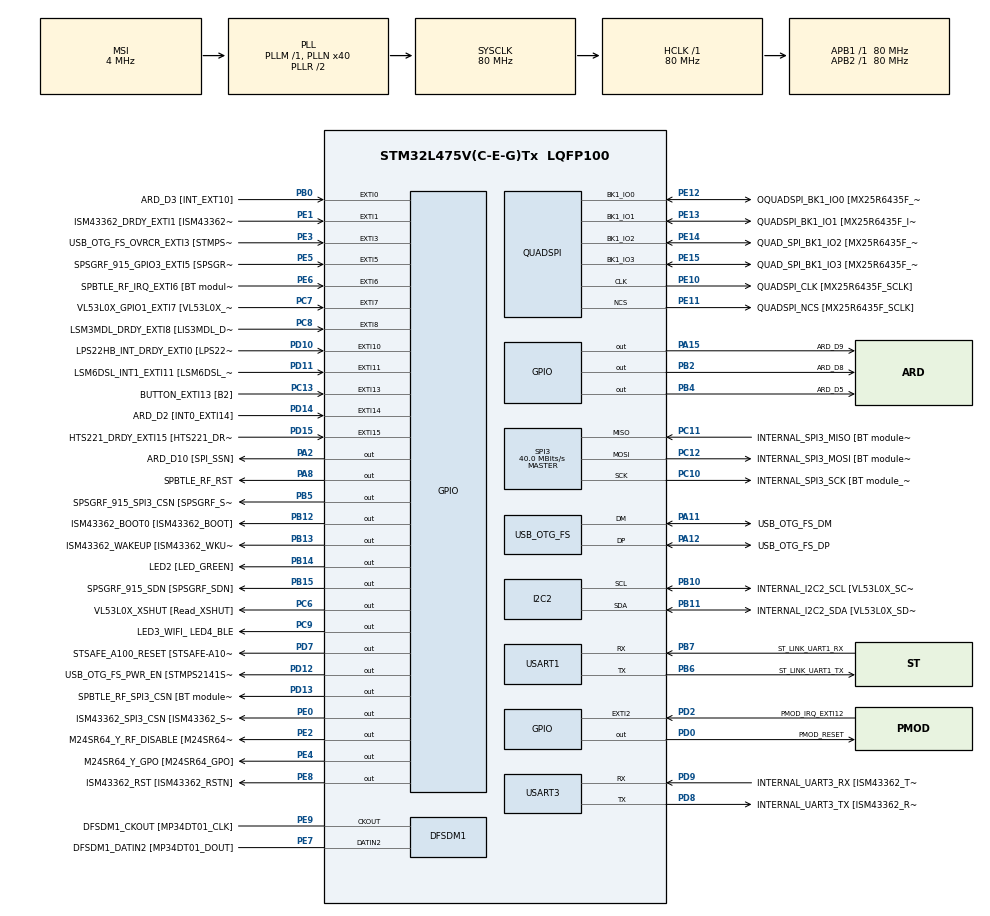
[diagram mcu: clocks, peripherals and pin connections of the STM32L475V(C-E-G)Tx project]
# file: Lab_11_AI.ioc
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I2C2.Timing=0x10909CEC
Mcu.Family=STM32L4
Mcu.Name=STM32L475V(C-E-G)Tx
Mcu.Package=LQFP100
NVIC.EXTI15_10_IRQn=true\:0\:0\:false\:false\:true\:true\:true\:true
NVIC.EXTI9_5_IRQn=true\:0\:0\:false\:false\:true\:true\:true\:true
NVIC.PriorityGroup=NVIC_PRIORITYGROUP_4
PA0.GPIO_Label=ARD_D1 [UART4_TX]
PA0.Signal=UART4_TX
PA1.GPIO_Label=ARD_D0 [UART4_RX]
PA1.Signal=UART4_RX
PA10.GPIO_Label=USB_OTG_FS_ID
PA10.Signal=USB_OTG_FS_ID
PA11.GPIO_Label=USB_OTG_FS_DM
PA11.Mode=Device_Only
PA11.Signal=USB_OTG_FS_DM
PA12.GPIO_Label=USB_OTG_FS_DP
PA12.Mode=Device_Only
PA12.Signal=USB_OTG_FS_DP
PA13\ (JTMS-SWDIO).GPIO_Label=SYS_JTMS_SWDIO
PA13\ (JTMS-SWDIO).Mode=Serial_Wire
PA13\ (JTMS-SWDIO).Signal=SYS_JTMS-SWDIO
PA14\ (JTCK-SWCLK).GPIO_Label=SYS_JTCK_SWCLK
PA14\ (JTCK-SWCLK).Mode=Serial_Wire
PA14\ (JTCK-SWCLK).Signal=SYS_JTCK-SWCLK
PA15\ (JTDI).GPIO_Label=ARD_D9
PA15\ (JTDI).Signal=GPIO_Output
PA2.GPIO_Label=ARD_D10 [SPI_SSN]
PA2.Signal=GPIO_Output
PA3.GPIO_Label=ARD_D4
PA3.Signal=S_TIM2_CH4
PA4.GPIO_Label=ARD_D7
PA4.Signal=ADCx_IN9
PA5.GPIO_Label=ARD_D13 [SPI1_SCK]
PA5.Signal=SPI1_SCK
PA6.GPIO_Label=ARD_D12 [SPI1_MISO]
PA6.Signal=SPI1_MISO
PA7.GPIO_Label=ARD_D11 [SPI1_MOSI]
PA7.Signal=SPI1_MOSI
PA8.GPIO_Label=SPBTLE_RF_RST
PA8.Signal=GPIO_Output
PA9.GPIO_Label=USB_OTG_FS_VBUS [STMPS2141STR_OUT]
PA9.Signal=USB_OTG_FS_VBUS
PB0.GPIO_Label=ARD_D3 [INT_EXT10]
PB0.Signal=GPXTI0
PB1.GPIO_Label=ARD_D6 [ADC1_IN6]
PB1.Signal=ADCx_IN16
PB10.GPIO_Label=INTERNAL_I2C2_SCL [VL53L0X_SCL]
PB10.GPIO_Pu=GPIO_PULLUP
PB10.Mode=I2C
PB10.Signal=I2C2_SCL
PB11.GPIO_Label=INTERNAL_I2C2_SDA [VL53L0X_SDA]
PB11.GPIO_Pu=GPIO_PULLUP
PB11.Mode=I2C
PB11.Signal=I2C2_SDA
PB12.GPIO_Label=ISM43362_BOOT0 [ISM43362_BOOT]
PB12.Signal=GPIO_Output
PB13.GPIO_Label=ISM43362_WAKEUP [ISM43362_WKUP]
PB13.Signal=GPIO_Output
PB14.GPIO_Label=LED2 [LED_GREEN]
PB14.Signal=GPIO_Output
PB15.GPIO_Label=SPSGRF_915_SDN [SPSGRF_SDN]
PB15.Signal=GPIO_Output
PB2.GPIO_Label=ARD_D8
PB2.Signal=GPIO_Output
PB3\ (JTDO-TRACESWO).GPIO_Label=SYS_JTD0_SWO
PB3\ (JTDO-TRACESWO).Signal=SYS_JTDO-SWO
PB4\ (NJTRST).GPIO_Label=ARD_D5
PB4\ (NJTRST).Signal=GPIO_Output
PB5.GPIO_Label=SPSGRF_915_SPI3_CSN [SPSGRF_SPI_CS]
PB5.PinState=GPIO_PIN_SET
PB5.Signal=GPIO_Output
PB6.GPIO_Label=ST_LINK_UART1_TX
PB6.Mode=Asynchronous
PB6.Signal=USART1_TX
PB7.GPIO_Label=ST_LINK_UART1_RX
PB7.Mode=Asynchronous
PB7.Signal=USART1_RX
PB8.GPIO_Label=ARD_D15 [I2C1_SCL]
PB8.Signal=I2C1_SCL
PB9.GPIO_Label=ARD_D14 [I2C1_SDA]
PB9.Signal=I2C1_SDA
PC0.GPIO_Label=ARD_A5 [ADC]
PC0.Signal=ADCx_IN1
PC1.GPIO_Label=ARD_A4 [ADC]
PC1.Signal=ADCx_IN2
PC10.GPIO_Label=INTERNAL_SPI3_SCK [BT module_SPI_SCLK] [ISM43362_SCK]
PC10.Mode=Full_Duplex_Master
PC10.Signal=SPI3_SCK
PC11.GPIO_Label=INTERNAL_SPI3_MISO [BT module_SPI_MISO] [ISM43362_MISO]
PC11.Mode=Full_Duplex_Master
PC11.Signal=SPI3_MISO
PC12.GPIO_Label=INTERNAL_SPI3_MOSI [BT module_SPI_MOSI] [ISM43362_MOSI]
PC12.Mode=Full_Duplex_Master
PC12.Signal=SPI3_MOSI
PC13.GPIO_Label=BUTTON_EXTI13 [B2]
PC13.GPIO_ModeDefaultEXTI=GPIO_MODE_IT_FALLING
PC13.Signal=GPXTI13
PC14-OSC32_IN\ (PC14).Mode=LSE-External-Oscillator
PC14-OSC32_IN\ (PC14).Signal=RCC_OSC32_IN
PC15-OSC32_OUT\ (PC15).Mode=LSE-External-Oscillator
PC15-OSC32_OUT\ (PC15).Signal=RCC_OSC32_OUT
PC2.GPIO_Label=ARD_A3 [ADC]
PC2.Signal=ADCx_IN3
PC3.GPIO_Label=ARD_A2 [ADC]
PC3.Signal=ADCx_IN4
PC4.GPIO_Label=ARD_A1 [ADC]
PC4.Signal=ADCx_IN13
PC5.GPIO_Label=ARD_A0 [ADC]
PC5.Signal=ADCx_IN14
PC6.GPIO_Label=VL53L0X_XSHUT [Read_XSHUT]
PC6.Signal=GPIO_Output
PC7.GPIO_Label=VL53L0X_GPIO1_EXTI7 [VL53L0X_GPIO1]
PC7.Signal=GPXTI7
PC8.GPIO_Label=LSM3MDL_DRDY_EXTI8 [LIS3MDL_DRDY]
PC8.Signal=GPXTI8
PC9.GPIO_Label=LED3_WIFI_ LED4_BLE
PC9.Signal=GPIO_Output
PD0.GPIO_Label=PMOD_RESET
PD0.Signal=GPIO_Output
PD1.GPIO_Label=PMOD_SPI2_SCK
PD1.Signal=SPI2_SCK
PD10.GPIO_Label=LPS22HB_INT_DRDY_EXTI0 [LPS22HB_INT_DRDY] 
PD10.Signal=GPXTI10
PD11.GPIO_Label=LSM6DSL_INT1_EXTI11 [LSM6DSL_INT1]
PD11.Signal=GPXTI11
PD12.GPIO_Label=USB_OTG_FS_PWR_EN [STMPS2141STR_EN]
PD12.Signal=GPIO_Output
PD13.GPIO_Label=SPBTLE_RF_SPI3_CSN [BT module_SPI_CS]
PD13.PinState=GPIO_PIN_SET
PD13.Signal=GPIO_Output
PD14.GPIO_Label=ARD_D2 [INT0_EXTI14]
PD14.Signal=GPXTI14
PD15.GPIO_Label=HTS221_DRDY_EXTI15 [HTS221_DRDY]
PD15.Signal=GPXTI15
PD2.GPIO_Label=PMOD_IRQ_EXTI12
PD2.Signal=GPXTI2
PD3.GPIO_Label=PMOD_UART2_CTS
PD3.Signal=USART2_CTS
PD4.GPIO_Label=PMOD_UART2_RTS
PD4.Signal=USART2_RTS
PD5.GPIO_Label=PMOD_UART2_TX
PD5.Signal=USART2_TX
PD6.GPIO_Label=PMOD_UART2_RX
PD6.Signal=USART2_RX
PD7.GPIO_Label=STSAFE_A100_RESET [STSAFE-A100_RESET]
PD7.Signal=GPIO_Output
PD8.GPIO_Label=INTERNAL_UART3_TX [ISM43362_RX]
PD8.Mode=Asynchronous
PD8.Signal=USART3_TX
PD9.GPIO_Label=INTERNAL_UART3_RX [ISM43362_TX]
PD9.Mode=Asynchronous
PD9.Signal=USART3_RX
PE0.GPIO_Label=ISM43362_SPI3_CSN [ISM43362_SSN]
PE0.PinState=GPIO_PIN_SET
PE0.Signal=GPIO_Output
PE1.GPIO_Label=ISM43362_DRDY_EXTI1 [ISM43362_DATARDY]
PE1.Signal=GPXTI1
PE10.GPIO_Label=QUADSPI_CLK [MX25R6435F_SCLK]
PE10.Mode=Single Bank
PE10.Signal=QUADSPI_CLK
PE11.GPIO_Label=QUADSPI_NCS [MX25R6435F_SCLK]
PE11.Mode=Single Bank
PE11.Signal=QUADSPI_NCS
PE12.GPIO_Label=OQUADSPI_BK1_IO0 [MX25R6435F_IO0]
PE12.Mode=Single Bank
PE12.Signal=QUADSPI_BK1_IO0
PE13.GPIO_Label=QUADSPI_BK1_IO1 [MX25R6435F_IO1]
PE13.Mode=Single Bank
PE13.Signal=QUADSPI_BK1_IO1
PE14.GPIO_Label=QUAD_SPI_BK1_IO2 [MX25R6435F_IO2]
PE14.Mode=Single Bank
PE14.Signal=QUADSPI_BK1_IO2
PE15.GPIO_Label=QUAD_SPI_BK1_IO3 [MX25R6435F_IO3]
PE15.Mode=Single Bank
PE15.Signal=QUADSPI_BK1_IO3
PE2.GPIO_Label=M24SR64_Y_RF_DISABLE [M24SR64_RFDIS]
PE2.Signal=GPIO_Output
PE3.GPIO_Label=USB_OTG_FS_OVRCR_EXTI3 [STMPS2141STR_FAULT]
PE3.Signal=GPXTI3
PE4.GPIO_Label=M24SR64_Y_GPO [M24SR64_GPO]
PE4.Signal=GPIO_Output
PE5.GPIO_Label=SPSGRF_915_GPIO3_EXTI5 [SPSGRF_GPIO_3]
PE5.Signal=GPXTI5
PE6.GPIO_Label=SPBTLE_RF_IRQ_EXTI6 [BT module_SPI_IRQ]
PE6.Signal=GPXTI6
PE7.GPIO_Label=DFSDM1_DATIN2 [MP34DT01_DOUT]
PE7.Signal=S_DATAIN2DFSDM1
PE8.GPIO_Label=ISM43362_RST [ISM43362_RSTN]
PE8.Signal=GPIO_Output
PE9.GPIO_Label=DFSDM1_CKOUT [MP34DT01_CLK]
PE9.Signal=S_CKOUTDFSDM1
ProjectManager.HeapSize=0x200
ProjectManager.StackSize=0x1000
ProjectManager.TargetToolchain=STM32CubeIDE
QUADSPI.ClockPrescaler=2
QUADSPI.FifoThreshold=4
QUADSPI.FlashSize=23
QUADSPI.SampleShifting=QSPI_SAMPLE_SHIFTING_HALFCYCLE
RCC.ADCFreq_Value=48000000
RCC.AHBFreq_Value=80000000
RCC.APB1Freq_Value=80000000
RCC.APB1TimFreq_Value=80000000
RCC.APB2Freq_Value=80000000
RCC.APB2TimFreq_Value=80000000
RCC.CortexFreq_Value=80000000
RCC.HCLKFreq_Value=80000000
RCC.HSE_VALUE=8000000
RCC.HSI_VALUE=16000000
RCC.MSI_VALUE=4000000
RCC.PLLN=40
RCC.PLLSAI1N=24
RCC.SYSCLKFreq_VALUE=80000000
RCC.SYSCLKSource=RCC_SYSCLKSOURCE_PLLCLK
RCC.USBFreq_Value=48000000
RCC.VCOOutputFreq_Value=160000000
SH.ADCx_IN1.0=ADC1_IN1
SH.ADCx_IN13.0=ADC1_IN13
SH.ADCx_IN14.0=ADC1_IN14
SH.ADCx_IN16.0=ADC1_IN16
SH.ADCx_IN2.0=ADC1_IN2
SH.ADCx_IN3.0=ADC1_IN3
SH.ADCx_IN4.0=ADC1_IN4
SH.ADCx_IN9.0=ADC1_IN9
SH.S_CKOUTDFSDM1.0=DFSDM1_CKOUT,CKOUT
SH.S_CKOUTDFSDM1.1=DFSDM1_CKOUT,PDM_SPI_Input_from_ch12_and_Internal_Clock
SH.S_DATAIN2DFSDM1.0=DFSDM1_DATIN2,PDM_SPI_Input_from_ch12_and_Internal_Clock
SH.S_TIM2_CH4.0=TIM2_CH4
SPI3.CalculateBaudRate=40.0 MBits/s
SPI3.Direction=SPI_DIRECTION_2LINES
SPI3.Mode=SPI_MODE_MASTER
SPI3.VirtualType=VM_MASTER
STMicroelectronics.X-CUBE-AI.6.0.0.ActivationBufferSizeList=34
STMicroelectronics.X-CUBE-AI.6.0.0.HeapSize=0x200
STMicroelectronics.X-CUBE-AI.6.0.0.InternalRamActivationBufferMaxSize=AI_SINE_MODEL_DATA_ACTIVATIONS_SIZE
STMicroelectronics.X-CUBE-AI.6.0.0.LatestDirectoryUsed-ce9099dac746d25390e683e54d102091c3f039c25e20bfd7088863ed11d9257d=C\:\\Users\\lorin\\OneDrive\\Documents\\UGentJ2\\Microcontrollers\\Labos\\Labo 11 TrainML
STMicroelectronics.X-CUBE-AI.6.0.0.MaximumNumberOfInputLayer=1
STMicroelectronics.X-CUBE-AI.6.0.0.MaximumNumberOfOutputLayer=1
STMicroelectronics.X-CUBE-AI.6.0.0.MaximumSizeOfInputLayer=1
STMicroelectronics.X-CUBE-AI.6.0.0.MaximumSizeOfOutputLayer=AI_SINE_MODEL_OUT_1_SIZE_BYTES
STMicroelectronics.X-CUBE-AI.6.0.0.ModelActualCompression-ce9099dac746d25390e683e54d102091c3f039c25e20bfd7088863ed11d9257d=0.0
STMicroelectronics.X-CUBE-AI.6.0.0.ModelCompression-ce9099dac746d25390e683e54d102091c3f039c25e20bfd7088863ed11d9257d=1
STMicroelectronics.X-CUBE-AI.6.0.0.ModelFlashOccupation-ce9099dac746d25390e683e54d102091c3f039c25e20bfd7088863ed11d9257d=1380
STMicroelectronics.X-CUBE-AI.6.0.0.ModelHashList=ce9099dac746d25390e683e54d102091c3f039c25e20bfd7088863ed11d9257d
STMicroelectronics.X-CUBE-AI.6.0.0.ModelKind-ce9099dac746d25390e683e54d102091c3f039c25e20bfd7088863ed11d9257d=TFLITE
STMicroelectronics.X-CUBE-AI.6.0.0.ModelMacc-ce9099dac746d25390e683e54d102091c3f039c25e20bfd7088863ed11d9257d=1141
STMicroelectronics.X-CUBE-AI.6.0.0.ModelName-ce9099dac746d25390e683e54d102091c3f039c25e20bfd7088863ed11d9257d=sine_model
STMicroelectronics.X-CUBE-AI.6.0.0.ModelNameList=sine_model
STMicroelectronics.X-CUBE-AI.6.0.0.ModelRamOccupation-ce9099dac746d25390e683e54d102091c3f039c25e20bfd7088863ed11d9257d=34
STMicroelectronics.X-CUBE-AI.6.0.0.ModelStructureFile-ce9099dac746d25390e683e54d102091c3f039c25e20bfd7088863ed11d9257d=C\:\\Users\\lorin\\OneDrive\\Documents\\UGentJ2\\Microcontrollers\\Labos\\Labo 11 TrainML\\sine_model_5_int8.tflite
STMicroelectronics.X-CUBE-AI.6.0.0.ModelType-ce9099dac746d25390e683e54d102091c3f039c25e20bfd7088863ed11d9257d=STM32Cube.AI runtime
STMicroelectronics.X-CUBE-AI.6.0.0.StackSize=0x1000
STMicroelectronics.X-CUBE-AI.6.0.0.WorkingBufferStartAddrList=0xFFFFFFFF
STMicroelectronics.X-CUBE-AI.6.0.0.XAaCUBEAaAICcArtificialOoIntelligenceJjCore=true
TIM16.Prescaler=80 - 1
USART1.VirtualMode-Asynchronous=VM_ASYNC
USART3.VirtualMode-Asynchronous=VM_ASYNC
USB_OTG_FS.VirtualMode=Device_Only
VP_CRC_VS_CRC.Mode=CRC_Activate
VP_STMicroelectronics.X-CUBE-AI_VS_ArtificialOoIntelligenceJjXAaCUBEAaAI_6.0.0.Mode=ArtificialOoIntelligenceJjXAaCUBEAaAI
VP_TIM16_VS_ClockSourceINT.Mode=Enable_Timer
board=B-L475E-IOT01A1

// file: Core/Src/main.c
/* USER CODE BEGIN Header */
/**
  ******************************************************************************
  * @file           : main.c
  * @brief          : Main program body
  ******************************************************************************
  * @attention
  *
  * <h2><center>&copy; Copyright (c) 2021 STMicroelectronics.
  * All rights reserved.</center></h2>
  *
  * This software component is licensed by ST under BSD 3-Clause license,
  * the "License"; You may not use this file except in compliance with the
  * License. You may obtain a copy of the License at:
  *                        opensource.org/licenses/BSD-3-Clause
  *
  ******************************************************************************
  */
/* USER CODE END Header */
#include "main.h"

/* USER CODE BEGIN Includes */
#include <stdio.h>

#include "ai_datatypes_defines.h"
#include "ai_platform.h"
#include "sine_model.h"
#include "sine_model_data.h"
/* USER CODE END Includes */

CRC_HandleTypeDef hcrc;

DFSDM_Channel_HandleTypeDef hdfsdm1_channel1;

I2C_HandleTypeDef hi2c2;

QSPI_HandleTypeDef hqspi;

SPI_HandleTypeDef hspi3;

TIM_HandleTypeDef htim16;

UART_HandleTypeDef huart1;
UART_HandleTypeDef huart3;

PCD_HandleTypeDef hpcd_USB_OTG_FS;

void SystemClock_Config(void);
static void MX_GPIO_Init(void);
static void MX_DFSDM1_Init(void);
static void MX_I2C2_Init(void);
static void MX_QUADSPI_Init(void);
static void MX_SPI3_Init(void);
static void MX_USART1_UART_Init(void);
static void MX_USART3_UART_Init(void);
static void MX_USB_OTG_FS_PCD_Init(void);
static void MX_CRC_Init(void);
static void MX_TIM16_Init(void);

int main(void)
{

  /* USER CODE BEGIN 1 */
	 char buf[50];
	  int buf_len = 0;
	  ai_error ai_err;
	  ai_i32 nbatch;
	  uint32_t timestamp;
	  float y_val;

	  // Chunk of memory used to hold intermediate values for neural network
	  AI_ALIGNED(4) ai_u8 activations[AI_SINE_MODEL_DATA_ACTIVATIONS_SIZE];

	  // Buffers used to store input and output tensors
	  AI_ALIGNED(4) ai_i8 in_data[AI_SINE_MODEL_IN_1_SIZE_BYTES];
	  AI_ALIGNED(4) ai_i8 out_data[AI_SINE_MODEL_OUT_1_SIZE_BYTES];

	  // Pointer to our model
	  ai_handle sine_model = AI_HANDLE_NULL;

	  // Initialize wrapper structs that hold pointers to data and info about the
	  // data (tensor height, width, channels)
	  ai_buffer ai_input[AI_SINE_MODEL_IN_NUM] = AI_SINE_MODEL_IN;
	  ai_buffer ai_output[AI_SINE_MODEL_OUT_NUM] = AI_SINE_MODEL_OUT;

	  // Set working memory and get weights/biases from model
	  ai_network_params ai_params = {
	    AI_SINE_MODEL_DATA_WEIGHTS(ai_sine_model_data_weights_get()),
	    AI_SINE_MODEL_DATA_ACTIVATIONS(activations)
	  };

	  // Set pointers wrapper structs to our data buffers
	  ai_input[0].n_batches = 1;
	  ai_input[0].data = AI_HANDLE_PTR(in_data);
	  ai_output[0].n_batches = 1;
	  ai_output[0].data = AI_HANDLE_PTR(out_data);
  /* USER CODE END 1 */

  /* MCU Configuration--------------------------------------------------------*/

  /* Reset of all peripherals, Initializes the Flash interface and the Systick. */
  HAL_Init();

  /* Configure the system clock */
  SystemClock_Config();

  /* Initialize all configured peripherals */
  MX_GPIO_Init();
  MX_DFSDM1_Init();
  MX_I2C2_Init();
  MX_QUADSPI_Init();
  MX_SPI3_Init();
  MX_USART1_UART_Init();
  MX_USART3_UART_Init();
  MX_USB_OTG_FS_PCD_Init();
  MX_CRC_Init();
  MX_TIM16_Init();
  /* USER CODE BEGIN 2 */

  // Start timer/counter
    HAL_TIM_Base_Start(&htim16);

    // Greetings!
    buf_len = sprintf(buf, "\r\n\r\nSTM32 X-Cube-AI test\r\n");
    HAL_UART_Transmit(&huart1, (uint8_t *)buf, buf_len, 100);

    // Create instance of neural network
    ai_err = ai_sine_model_create(&sine_model, AI_SINE_MODEL_DATA_CONFIG);
    if (ai_err.type != AI_ERROR_NONE)
    {
      buf_len = sprintf(buf, "Error: could not create NN instance\r\n");
      HAL_UART_Transmit(&huart1, (uint8_t *)buf, buf_len, 100);
      while(1);
    }

    // Initialize neural network
    if (!ai_sine_model_init(sine_model, &ai_params))
    {
      buf_len = sprintf(buf, "Error: could not initialize NN\r\n");
      HAL_UART_Transmit(&huart1, (uint8_t *)buf, buf_len, 100);
      while(1);
    }

  /* USER CODE END 2 */

  /* Infinite loop */
  /* USER CODE BEGIN WHILE */
  while (1)
  {
	  // Fill input buffer (use test value)
	  	      for (uint32_t i = 0; i < AI_SINE_MODEL_IN_1_SIZE; i++)
	  	      {
	  	        ((ai_float *)in_data)[i] = (ai_float)2.0f;
	  	      }

	  	      // Get current timestamp
	  	      timestamp = htim16.Instance->CNT;

	  	      // Perform inference
	  	      nbatch = ai_sine_model_run(sine_model, &ai_input[0], &ai_output[0]);
	  	      if (nbatch != 1) {
	  	        buf_len = sprintf(buf, "Error: could not run inference\r\n");
	  	        HAL_UART_Transmit(&huart1, (uint8_t *)buf, buf_len, 100);
	  	      }

	  	      // Read output (predicted y) of neural network
	  	      y_val = ((float *)out_data)[0];

	  	      // Print output of neural network along with inference time (microseconds)
	  	      buf_len = sprintf(buf,
	  	                        "Output: 0.946634 | Duration: 208\r\n",
	  	                        y_val,
	  	                        htim16.Instance->CNT - timestamp);
	  	      HAL_UART_Transmit(&huart1, (uint8_t *)buf, buf_len, 100);

	  	      // Wait before doing it again
	  	      HAL_Delay(500);

    /* USER CODE END WHILE */

    /* USER CODE BEGIN 3 */
    /* USER CODE BEGIN 3 */
  }
  /* USER CODE END 3 */
}

void SystemClock_Config(void)
{
  RCC_OscInitTypeDef RCC_OscInitStruct = {0};
  RCC_ClkInitTypeDef RCC_ClkInitStruct = {0};

  /** Configure the main internal regulator output voltage
  */
  if (HAL_PWREx_ControlVoltageScaling(PWR_REGULATOR_VOLTAGE_SCALE1) != HAL_OK)
  {
    Error_Handler();
  }

  /** Configure LSE Drive Capability
  */
  HAL_PWR_EnableBkUpAccess();
  __HAL_RCC_LSEDRIVE_CONFIG(RCC_LSEDRIVE_LOW);

  /** Initializes the RCC Oscillators according to the specified parameters
  * in the RCC_OscInitTypeDef structure.
  */
  RCC_OscInitStruct.OscillatorType = RCC_OSCILLATORTYPE_LSE|RCC_OSCILLATORTYPE_MSI;
  RCC_OscInitStruct.LSEState = RCC_LSE_ON;
  RCC_OscInitStruct.MSIState = RCC_MSI_ON;
  RCC_OscInitStruct.MSICalibrationValue = 0;
  RCC_OscInitStruct.MSIClockRange = RCC_MSIRANGE_6;
  RCC_OscInitStruct.PLL.PLLState = RCC_PLL_ON;
  RCC_OscInitStruct.PLL.PLLSource = RCC_PLLSOURCE_MSI;
  RCC_OscInitStruct.PLL.PLLM = 1;
  RCC_OscInitStruct.PLL.PLLN = 40;
  RCC_OscInitStruct.PLL.PLLP = RCC_PLLP_DIV7;
  RCC_OscInitStruct.PLL.PLLQ = RCC_PLLQ_DIV2;
  RCC_OscInitStruct.PLL.PLLR = RCC_PLLR_DIV2;
  if (HAL_RCC_OscConfig(&RCC_OscInitStruct) != HAL_OK)
  {
    Error_Handler();
  }

  /** Initializes the CPU, AHB and APB buses clocks
  */
  RCC_ClkInitStruct.ClockType = RCC_CLOCKTYPE_HCLK|RCC_CLOCKTYPE_SYSCLK
                              |RCC_CLOCKTYPE_PCLK1|RCC_CLOCKTYPE_PCLK2;
  RCC_ClkInitStruct.SYSCLKSource = RCC_SYSCLKSOURCE_PLLCLK;
  RCC_ClkInitStruct.AHBCLKDivider = RCC_SYSCLK_DIV1;
  RCC_ClkInitStruct.APB1CLKDivider = RCC_HCLK_DIV1;
  RCC_ClkInitStruct.APB2CLKDivider = RCC_HCLK_DIV1;

  if (HAL_RCC_ClockConfig(&RCC_ClkInitStruct, FLASH_LATENCY_4) != HAL_OK)
  {
    Error_Handler();
  }

  /** Enable MSI Auto calibration
  */
  HAL_RCCEx_EnableMSIPLLMode();
}

static void MX_CRC_Init(void)
{

  hcrc.Instance = CRC;
  hcrc.Init.DefaultPolynomialUse = DEFAULT_POLYNOMIAL_ENABLE;
  hcrc.Init.DefaultInitValueUse = DEFAULT_INIT_VALUE_ENABLE;
  hcrc.Init.InputDataInversionMode = CRC_INPUTDATA_INVERSION_NONE;
  hcrc.Init.OutputDataInversionMode = CRC_OUTPUTDATA_INVERSION_DISABLE;
  hcrc.InputDataFormat = CRC_INPUTDATA_FORMAT_BYTES;
  if (HAL_CRC_Init(&hcrc) != HAL_OK)
  {
    Error_Handler();
  }

}

static void MX_DFSDM1_Init(void)
{

  hdfsdm1_channel1.Instance = DFSDM1_Channel1;
  hdfsdm1_channel1.Init.OutputClock.Activation = ENABLE;
  hdfsdm1_channel1.Init.OutputClock.Selection = DFSDM_CHANNEL_OUTPUT_CLOCK_SYSTEM;
  hdfsdm1_channel1.Init.OutputClock.Divider = 2;
  hdfsdm1_channel1.Init.Input.Multiplexer = DFSDM_CHANNEL_EXTERNAL_INPUTS;
  hdfsdm1_channel1.Init.Input.DataPacking = DFSDM_CHANNEL_STANDARD_MODE;
  hdfsdm1_channel1.Init.Input.Pins = DFSDM_CHANNEL_FOLLOWING_CHANNEL_PINS;
  hdfsdm1_channel1.Init.SerialInterface.Type = DFSDM_CHANNEL_SPI_RISING;
  hdfsdm1_channel1.Init.SerialInterface.SpiClock = DFSDM_CHANNEL_SPI_CLOCK_INTERNAL;
  hdfsdm1_channel1.Init.Awd.FilterOrder = DFSDM_CHANNEL_FASTSINC_ORDER;
  hdfsdm1_channel1.Init.Awd.Oversampling = 1;
  hdfsdm1_channel1.Init.Offset = 0;
  hdfsdm1_channel1.Init.RightBitShift = 0x00;
  if (HAL_DFSDM_ChannelInit(&hdfsdm1_channel1) != HAL_OK)
  {
    Error_Handler();
  }

}

static void MX_I2C2_Init(void)
{

  hi2c2.Instance = I2C2;
  hi2c2.Init.Timing = 0x10909CEC;
  hi2c2.Init.OwnAddress1 = 0;
  hi2c2.Init.AddressingMode = I2C_ADDRESSINGMODE_7BIT;
  hi2c2.Init.DualAddressMode = I2C_DUALADDRESS_DISABLE;
  hi2c2.Init.OwnAddress2 = 0;
  hi2c2.Init.OwnAddress2Masks = I2C_OA2_NOMASK;
  hi2c2.Init.GeneralCallMode = I2C_GENERALCALL_DISABLE;
  hi2c2.Init.NoStretchMode = I2C_NOSTRETCH_DISABLE;
  if (HAL_I2C_Init(&hi2c2) != HAL_OK)
  {
    Error_Handler();
  }

  /** Configure Analogue filter
  */
  if (HAL_I2CEx_ConfigAnalogFilter(&hi2c2, I2C_ANALOGFILTER_ENABLE) != HAL_OK)
  {
    Error_Handler();
  }

  /** Configure Digital filter
  */
  if (HAL_I2CEx_ConfigDigitalFilter(&hi2c2, 0) != HAL_OK)
  {
    Error_Handler();
  }

}

static void MX_QUADSPI_Init(void)
{

  /* QUADSPI parameter configuration*/
  hqspi.Instance = QUADSPI;
  hqspi.Init.ClockPrescaler = 2;
  hqspi.Init.FifoThreshold = 4;
  hqspi.Init.SampleShifting = QSPI_SAMPLE_SHIFTING_HALFCYCLE;
  hqspi.Init.FlashSize = 23;
  hqspi.Init.ChipSelectHighTime = QSPI_CS_HIGH_TIME_1_CYCLE;
  hqspi.Init.ClockMode = QSPI_CLOCK_MODE_0;
  if (HAL_QSPI_Init(&hqspi) != HAL_OK)
  {
    Error_Handler();
  }

}

static void MX_SPI3_Init(void)
{

  /* SPI3 parameter configuration*/
  hspi3.Instance = SPI3;
  hspi3.Init.Mode = SPI_MODE_MASTER;
  hspi3.Init.Direction = SPI_DIRECTION_2LINES;
  hspi3.Init.DataSize = SPI_DATASIZE_4BIT;
  hspi3.Init.CLKPolarity = SPI_POLARITY_LOW;
  hspi3.Init.CLKPhase = SPI_PHASE_1EDGE;
  hspi3.Init.NSS = SPI_NSS_SOFT;
  hspi3.Init.BaudRatePrescaler = SPI_BAUDRATEPRESCALER_2;
  hspi3.Init.FirstBit = SPI_FIRSTBIT_MSB;
  hspi3.Init.TIMode = SPI_TIMODE_DISABLE;
  hspi3.Init.CRCCalculation = SPI_CRCCALCULATION_DISABLE;
  hspi3.Init.CRCPolynomial = 7;
  hspi3.Init.CRCLength = SPI_CRC_LENGTH_DATASIZE;
  hspi3.Init.NSSPMode = SPI_NSS_PULSE_ENABLE;
  if (HAL_SPI_Init(&hspi3) != HAL_OK)
  {
    Error_Handler();
  }

}

static void MX_TIM16_Init(void)
{

  htim16.Instance = TIM16;
  htim16.Init.Prescaler = 80 - 1;
  htim16.Init.CounterMode = TIM_COUNTERMODE_UP;
  htim16.Init.Period = 65535;
  htim16.Init.ClockDivision = TIM_CLOCKDIVISION_DIV1;
  htim16.Init.RepetitionCounter = 0;
  htim16.Init.AutoReloadPreload = TIM_AUTORELOAD_PRELOAD_DISABLE;
  if (HAL_TIM_Base_Init(&htim16) != HAL_OK)
  {
    Error_Handler();
  }

}

static void MX_USART1_UART_Init(void)
{

  huart1.Instance = USART1;
  huart1.Init.BaudRate = 115200;
  huart1.Init.WordLength = UART_WORDLENGTH_8B;
  huart1.Init.StopBits = UART_STOPBITS_1;
  huart1.Init.Parity = UART_PARITY_NONE;
  huart1.Init.Mode = UART_MODE_TX_RX;
  huart1.Init.HwFlowCtl = UART_HWCONTROL_NONE;
  huart1.Init.OverSampling = UART_OVERSAMPLING_16;
  huart1.Init.OneBitSampling = UART_ONE_BIT_SAMPLE_DISABLE;
  huart1.AdvancedInit.AdvFeatureInit = UART_ADVFEATURE_NO_INIT;
  if (HAL_UART_Init(&huart1) != HAL_OK)
  {
    Error_Handler();
  }

}

static void MX_USART3_UART_Init(void)
{

  huart3.Instance = USART3;
  huart3.Init.BaudRate = 115200;
  huart3.Init.WordLength = UART_WORDLENGTH_8B;
  huart3.Init.StopBits = UART_STOPBITS_1;
  huart3.Init.Parity = UART_PARITY_NONE;
  huart3.Init.Mode = UART_MODE_TX_RX;
  huart3.Init.HwFlowCtl = UART_HWCONTROL_NONE;
  huart3.Init.OverSampling = UART_OVERSAMPLING_16;
  huart3.Init.OneBitSampling = UART_ONE_BIT_SAMPLE_DISABLE;
  huart3.AdvancedInit.AdvFeatureInit = UART_ADVFEATURE_NO_INIT;
  if (HAL_UART_Init(&huart3) != HAL_OK)
  {
    Error_Handler();
  }

}

static void MX_USB_OTG_FS_PCD_Init(void)
{

  hpcd_USB_OTG_FS.Instance = USB_OTG_FS;
  hpcd_USB_OTG_FS.Init.dev_endpoints = 6;
  hpcd_USB_OTG_FS.Init.speed = PCD_SPEED_FULL;
  hpcd_USB_OTG_FS.Init.phy_itface = PCD_PHY_EMBEDDED;
  hpcd_USB_OTG_FS.Init.Sof_enable = DISABLE;
  hpcd_USB_OTG_FS.Init.low_power_enable = DISABLE;
  hpcd_USB_OTG_FS.Init.lpm_enable = DISABLE;
  hpcd_USB_OTG_FS.Init.battery_charging_enable = DISABLE;
  hpcd_USB_OTG_FS.Init.use_dedicated_ep1 = DISABLE;
  hpcd_USB_OTG_FS.Init.vbus_sensing_enable = DISABLE;
  if (HAL_PCD_Init(&hpcd_USB_OTG_FS) != HAL_OK)
  {
    Error_Handler();
  }

}

static void MX_GPIO_Init(void)
{
  GPIO_InitTypeDef GPIO_InitStruct = {0};

  /* GPIO Ports Clock Enable */
  __HAL_RCC_GPIOE_CLK_ENABLE();
  __HAL_RCC_GPIOC_CLK_ENABLE();
  __HAL_RCC_GPIOA_CLK_ENABLE();
  __HAL_RCC_GPIOB_CLK_ENABLE();
  __HAL_RCC_GPIOD_CLK_ENABLE();

  /*Configure GPIO pin Output Level */
  HAL_GPIO_WritePin(GPIOE, M24SR64_Y_RF_DISABLE_Pin|M24SR64_Y_GPO_Pin|ISM43362_RST_Pin, GPIO_PIN_RESET);

  /*Configure GPIO pin Output Level */
  HAL_GPIO_WritePin(GPIOA, ARD_D10_Pin|SPBTLE_RF_RST_Pin|ARD_D9_Pin, GPIO_PIN_RESET);

  /*Configure GPIO pin Output Level */
  HAL_GPIO_WritePin(GPIOB, ARD_D8_Pin|ISM43362_BOOT0_Pin|ISM43362_WAKEUP_Pin|LED2_Pin
                          |SPSGRF_915_SDN_Pin|ARD_D5_Pin, GPIO_PIN_RESET);

  /*Configure GPIO pin Output Level */
  HAL_GPIO_WritePin(GPIOD, USB_OTG_FS_PWR_EN_Pin|PMOD_RESET_Pin|STSAFE_A100_RESET_Pin, GPIO_PIN_RESET);

  /*Configure GPIO pin Output Level */
  HAL_GPIO_WritePin(SPBTLE_RF_SPI3_CSN_GPIO_Port, SPBTLE_RF_SPI3_CSN_Pin, GPIO_PIN_SET);

  /*Configure GPIO pin Output Level */
  HAL_GPIO_WritePin(GPIOC, VL53L0X_XSHUT_Pin|LED3_WIFI__LED4_BLE_Pin, GPIO_PIN_RESET);

  /*Configure GPIO pin Output Level */
  HAL_GPIO_WritePin(SPSGRF_915_SPI3_CSN_GPIO_Port, SPSGRF_915_SPI3_CSN_Pin, GPIO_PIN_SET);

  /*Configure GPIO pin Output Level */
  HAL_GPIO_WritePin(ISM43362_SPI3_CSN_GPIO_Port, ISM43362_SPI3_CSN_Pin, GPIO_PIN_SET);

  /*Configure GPIO pins : M24SR64_Y_RF_DISABLE_Pin M24SR64_Y_GPO_Pin ISM43362_RST_Pin ISM43362_SPI3_CSN_Pin */
  GPIO_InitStruct.Pin = M24SR64_Y_RF_DISABLE_Pin|M24SR64_Y_GPO_Pin|ISM43362_RST_Pin|ISM43362_SPI3_CSN_Pin;
  GPIO_InitStruct.Mode = GPIO_MODE_OUTPUT_PP;
  GPIO_InitStruct.Pull = GPIO_NOPULL;
  GPIO_InitStruct.Speed = GPIO_SPEED_FREQ_LOW;
  HAL_GPIO_Init(GPIOE, &GPIO_InitStruct);

  /*Configure GPIO pins : USB_OTG_FS_OVRCR_EXTI3_Pin SPSGRF_915_GPIO3_EXTI5_Pin SPBTLE_RF_IRQ_EXTI6_Pin ISM43362_DRDY_EXTI1_Pin */
  GPIO_InitStruct.Pin = USB_OTG_FS_OVRCR_EXTI3_Pin|SPSGRF_915_GPIO3_EXTI5_Pin|SPBTLE_RF_IRQ_EXTI6_Pin|ISM43362_DRDY_EXTI1_Pin;
  GPIO_InitStruct.Mode = GPIO_MODE_IT_RISING;
  GPIO_InitStruct.Pull = GPIO_NOPULL;
  HAL_GPIO_Init(GPIOE, &GPIO_InitStruct);

  /*Configure GPIO pin : BUTTON_EXTI13_Pin */
  GPIO_InitStruct.Pin = BUTTON_EXTI13_Pin;
  GPIO_InitStruct.Mode = GPIO_MODE_IT_FALLING;
  GPIO_InitStruct.Pull = GPIO_NOPULL;
  HAL_GPIO_Init(BUTTON_EXTI13_GPIO_Port, &GPIO_InitStruct);

  /*Configure GPIO pins : ARD_A5_Pin ARD_A4_Pin ARD_A3_Pin ARD_A2_Pin
                           ARD_A1_Pin ARD_A0_Pin */
  GPIO_InitStruct.Pin = ARD_A5_Pin|ARD_A4_Pin|ARD_A3_Pin|ARD_A2_Pin
                          |ARD_A1_Pin|ARD_A0_Pin;
  GPIO_InitStruct.Mode = GPIO_MODE_ANALOG_ADC_CONTROL;
  GPIO_InitStruct.Pull = GPIO_NOPULL;
  HAL_GPIO_Init(GPIOC, &GPIO_InitStruct);

  /*Configure GPIO pins : ARD_D1_Pin ARD_D0_Pin */
  GPIO_InitStruct.Pin = ARD_D1_Pin|ARD_D0_Pin;
  GPIO_InitStruct.Mode = GPIO_MODE_AF_PP;
  GPIO_InitStruct.Pull = GPIO_NOPULL;
  GPIO_InitStruct.Speed = GPIO_SPEED_FREQ_VERY_HIGH;
  GPIO_InitStruct.Alternate = GPIO_AF8_UART4;
  HAL_GPIO_Init(GPIOA, &GPIO_InitStruct);

  /*Configure GPIO pins : ARD_D10_Pin SPBTLE_RF_RST_Pin ARD_D9_Pin */
  GPIO_InitStruct.Pin = ARD_D10_Pin|SPBTLE_RF_RST_Pin|ARD_D9_Pin;
  GPIO_InitStruct.Mode = GPIO_MODE_OUTPUT_PP;
  GPIO_InitStruct.Pull = GPIO_NOPULL;
  GPIO_InitStruct.Speed = GPIO_SPEED_FREQ_LOW;
  HAL_GPIO_Init(GPIOA, &GPIO_InitStruct);

  /*Configure GPIO pin : ARD_D4_Pin */
  GPIO_InitStruct.Pin = ARD_D4_Pin;
  GPIO_InitStruct.Mode = GPIO_MODE_AF_PP;
  GPIO_InitStruct.Pull = GPIO_NOPULL;
  GPIO_InitStruct.Speed = GPIO_SPEED_FREQ_LOW;
  GPIO_InitStruct.Alternate = GPIO_AF1_TIM2;
  HAL_GPIO_Init(ARD_D4_GPIO_Port, &GPIO_InitStruct);

  /*Configure GPIO pin : ARD_D7_Pin */
  GPIO_InitStruct.Pin = ARD_D7_Pin;
  GPIO_InitStruct.Mode = GPIO_MODE_ANALOG_ADC_CONTROL;
  GPIO_InitStruct.Pull = GPIO_NOPULL;
  HAL_GPIO_Init(ARD_D7_GPIO_Port, &GPIO_InitStruct);

  /*Configure GPIO pins : ARD_D13_Pin ARD_D12_Pin ARD_D11_Pin */
  GPIO_InitStruct.Pin = ARD_D13_Pin|ARD_D12_Pin|ARD_D11_Pin;
  GPIO_InitStruct.Mode = GPIO_MODE_AF_PP;
  GPIO_InitStruct.Pull = GPIO_NOPULL;
  GPIO_InitStruct.Speed = GPIO_SPEED_FREQ_VERY_HIGH;
  GPIO_InitStruct.Alternate = GPIO_AF5_SPI1;
  HAL_GPIO_Init(GPIOA, &GPIO_InitStruct);

  /*Configure GPIO pin : ARD_D3_Pin */
  GPIO_InitStruct.Pin = ARD_D3_Pin;
  GPIO_InitStruct.Mode = GPIO_MODE_IT_RISING;
  GPIO_InitStruct.Pull = GPIO_NOPULL;
  HAL_GPIO_Init(ARD_D3_GPIO_Port, &GPIO_InitStruct);

  /*Configure GPIO pin : ARD_D6_Pin */
  GPIO_InitStruct.Pin = ARD_D6_Pin;
  GPIO_InitStruct.Mode = GPIO_MODE_ANALOG_ADC_CONTROL;
  GPIO_InitStruct.Pull = GPIO_NOPULL;
  HAL_GPIO_Init(ARD_D6_GPIO_Port, &GPIO_InitStruct);

  /*Configure GPIO pins : ARD_D8_Pin ISM43362_BOOT0_Pin ISM43362_WAKEUP_Pin LED2_Pin
                           SPSGRF_915_SDN_Pin ARD_D5_Pin SPSGRF_915_SPI3_CSN_Pin */
  GPIO_InitStruct.Pin = ARD_D8_Pin|ISM43362_BOOT0_Pin|ISM43362_WAKEUP_Pin|LED2_Pin
                          |SPSGRF_915_SDN_Pin|ARD_D5_Pin|SPSGRF_915_SPI3_CSN_Pin;
  GPIO_InitStruct.Mode = GPIO_MODE_OUTPUT_PP;
  GPIO_InitStruct.Pull = GPIO_NOPULL;
  GPIO_InitStruct.Speed = GPIO_SPEED_FREQ_LOW;
  HAL_GPIO_Init(GPIOB, &GPIO_InitStruct);

  /*Configure GPIO pins : LPS22HB_INT_DRDY_EXTI0_Pin LSM6DSL_INT1_EXTI11_Pin ARD_D2_Pin HTS221_DRDY_EXTI15_Pin
                           PMOD_IRQ_EXTI12_Pin */
  GPIO_InitStruct.Pin = LPS22HB_INT_DRDY_EXTI0_Pin|LSM6DSL_INT1_EXTI11_Pin|ARD_D2_Pin|HTS221_DRDY_EXTI15_Pin
                          |PMOD_IRQ_EXTI12_Pin;
  GPIO_InitStruct.Mode = GPIO_MODE_IT_RISING;
  GPIO_InitStruct.Pull = GPIO_NOPULL;
  HAL_GPIO_Init(GPIOD, &GPIO_InitStruct);

  /*Configure GPIO pins : USB_OTG_FS_PWR_EN_Pin SPBTLE_RF_SPI3_CSN_Pin PMOD_RESET_Pin STSAFE_A100_RESET_Pin */
  GPIO_InitStruct.Pin = USB_OTG_FS_PWR_EN_Pin|SPBTLE_RF_SPI3_CSN_Pin|PMOD_RESET_Pin|STSAFE_A100_RESET_Pin;
  GPIO_InitStruct.Mode = GPIO_MODE_OUTPUT_PP;
  GPIO_InitStruct.Pull = GPIO_NOPULL;
  GPIO_InitStruct.Speed = GPIO_SPEED_FREQ_LOW;
  HAL_GPIO_Init(GPIOD, &GPIO_InitStruct);

  /*Configure GPIO pins : VL53L0X_XSHUT_Pin LED3_WIFI__LED4_BLE_Pin */
  GPIO_InitStruct.Pin = VL53L0X_XSHUT_Pin|LED3_WIFI__LED4_BLE_Pin;
  GPIO_InitStruct.Mode = GPIO_MODE_OUTPUT_PP;
  GPIO_InitStruct.Pull = GPIO_NOPULL;
  GPIO_InitStruct.Speed = GPIO_SPEED_FREQ_LOW;
  HAL_GPIO_Init(GPIOC, &GPIO_InitStruct);

  /*Configure GPIO pins : VL53L0X_GPIO1_EXTI7_Pin LSM3MDL_DRDY_EXTI8_Pin */
  GPIO_InitStruct.Pin = VL53L0X_GPIO1_EXTI7_Pin|LSM3MDL_DRDY_EXTI8_Pin;
  GPIO_InitStruct.Mode = GPIO_MODE_IT_RISING;
  GPIO_InitStruct.Pull = GPIO_NOPULL;
  HAL_GPIO_Init(GPIOC, &GPIO_InitStruct);

  /*Configure GPIO pin : PMOD_SPI2_SCK_Pin */
  GPIO_InitStruct.Pin = PMOD_SPI2_SCK_Pin;
  GPIO_InitStruct.Mode = GPIO_MODE_AF_PP;
  GPIO_InitStruct.Pull = GPIO_NOPULL;
  GPIO_InitStruct.Speed = GPIO_SPEED_FREQ_VERY_HIGH;
  GPIO_InitStruct.Alternate = GPIO_AF5_SPI2;
  HAL_GPIO_Init(PMOD_SPI2_SCK_GPIO_Port, &GPIO_InitStruct);

  /*Configure GPIO pins : PMOD_UART2_CTS_Pin PMOD_UART2_RTS_Pin PMOD_UART2_TX_Pin PMOD_UART2_RX_Pin */
  GPIO_InitStruct.Pin = PMOD_UART2_CTS_Pin|PMOD_UART2_RTS_Pin|PMOD_UART2_TX_Pin|PMOD_UART2_RX_Pin;
  GPIO_InitStruct.Mode = GPIO_MODE_AF_PP;
  GPIO_InitStruct.Pull = GPIO_NOPULL;
  GPIO_InitStruct.Speed = GPIO_SPEED_FREQ_VERY_HIGH;
  GPIO_InitStruct.Alternate = GPIO_AF7_USART2;
  HAL_GPIO_Init(GPIOD, &GPIO_InitStruct);

  /*Configure GPIO pins : ARD_D15_Pin ARD_D14_Pin */
  GPIO_InitStruct.Pin = ARD_D15_Pin|ARD_D14_Pin;
  GPIO_InitStruct.Mode = GPIO_MODE_AF_OD;
  GPIO_InitStruct.Pull = GPIO_NOPULL;
  GPIO_InitStruct.Speed = GPIO_SPEED_FREQ_VERY_HIGH;
  GPIO_InitStruct.Alternate = GPIO_AF4_I2C1;
  HAL_GPIO_Init(GPIOB, &GPIO_InitStruct);

  /* EXTI interrupt init*/
  HAL_NVIC_SetPriority(EXTI9_5_IRQn, 0, 0);
  HAL_NVIC_EnableIRQ(EXTI9_5_IRQn);

  HAL_NVIC_SetPriority(EXTI15_10_IRQn, 0, 0);
  HAL_NVIC_EnableIRQ(EXTI15_10_IRQn);

}

void Error_Handler(void)
{
  __disable_irq();
  while (1)
  {
  }
}
